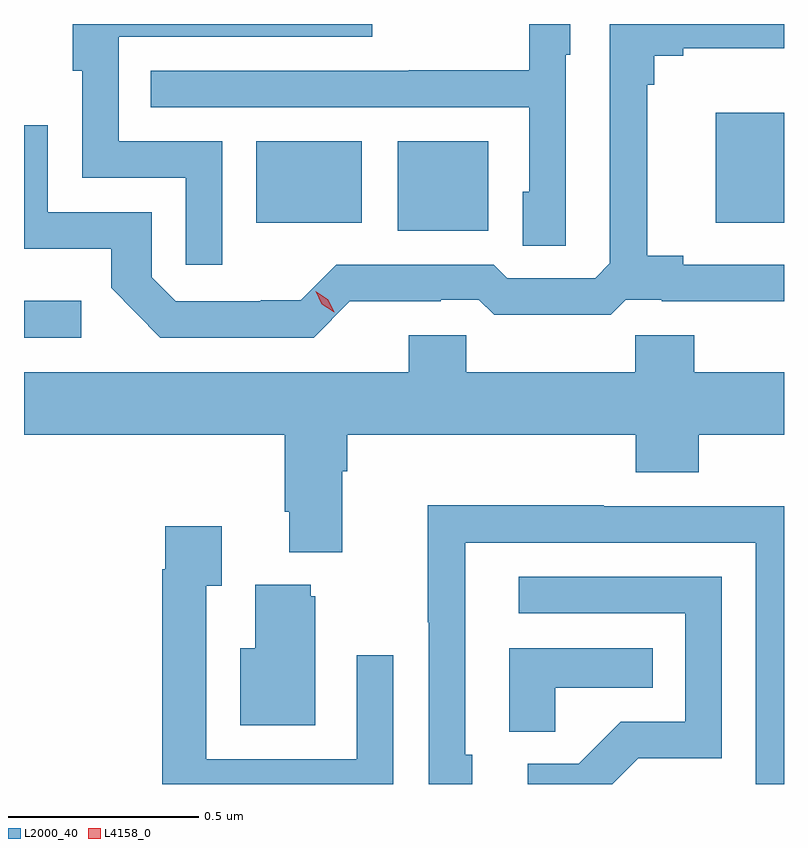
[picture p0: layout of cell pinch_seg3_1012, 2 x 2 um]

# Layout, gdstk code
import gdstk
lib = gdstk.Library(unit=1e-6, precision=1e-09)
def R(c, l, rs):  # rectangles x0, y0, x1, y1
    for r in rs: c.add(gdstk.rectangle(r[:2], r[2:], *l))
def P(c, l, *ps):  # polygons
    for p in ps: c.add(gdstk.Polygon(p, *l))
L2000_40 = (2000, 40)
L4158_0 = (4158, 0)

pinch_seg3_1012 = lib.new_cell('pinch_seg3_1012')
R(pinch_seg3_1012, L2000_40, [(450.465,685.188,450.616,685.285), (451.448,685.469,451.687,685.705), (451.076,685.49,451.354,685.705), (452.285,685.49,452.465,685.78)])
P(pinch_seg3_1012, L2000_40, [(451.89,685.932),(451.903,685.932),(451.903,686.013),(451.794,686.013),(451.794,685.891),(451.477,685.891),(451.477,685.89),(450.799,685.89),(450.799,685.794),(451.794,685.794),(451.794,685.572),(451.778,685.572),(451.778,685.429),(451.89,685.429)],
  [(450.987,685.704),(450.714,685.704),(450.714,685.98),(451.381,685.98),(451.381,686.013),(450.593,686.013),(450.593,685.89),(450.618,685.89),(450.618,685.608),(450.891,685.608),(450.891,685.38),(450.987,685.38)],
  [(451.322,685.283),(451.562,685.283),(451.562,685.287),(451.662,685.287),(451.702,685.248),(452.009,685.248),(452.049,685.287),(452.143,685.287),(452.143,685.283),(452.465,685.283),(452.465,685.38),(452.2,685.38),(452.2,685.403),(452.105,685.403),(452.105,685.853),(452.123,685.853),(452.123,685.93),(452.2,685.93),(452.2,685.949),(452.465,685.949),(452.465,686.013),(452.007,686.013),(452.007,685.383),(451.968,685.344),(451.737,685.344),(451.701,685.38),(451.287,685.38),(451.193,685.286),(451.088,685.286),(451.088,685.284),(450.864,685.284),(450.801,685.347),(450.801,685.518),(450.528,685.518),(450.528,685.747),(450.465,685.747),(450.465,685.421),(450.694,685.421),(450.694,685.319),(450.824,685.188),(451.227,685.188)],
  [(452.075,684.833),(452.24,684.833),(452.24,684.932),(452.465,684.932),(452.465,685.096),(452.229,685.096),(452.229,685.194),(452.074,685.194),(452.074,685.096),(451.629,685.096),(451.629,685.194),(451.478,685.194),(451.478,685.096),(450.465,685.096),(450.465,684.932),(451.151,684.932),(451.151,684.73),(451.163,684.73),(451.163,684.623),(451.303,684.623),(451.303,684.836),(451.316,684.836),(451.316,684.932),(452.075,684.932)],
  [(451.645,684.09),(451.626,684.09),(451.626,684.648),(452.391,684.648),(452.391,684.013),(452.465,684.013),(452.465,684.744),(451.991,684.744),(451.991,684.746),(451.528,684.746),(451.528,684.439),(451.53,684.439),(451.53,684.013),(451.645,684.013)],
  [(451.437,684.352),(451.341,684.352),(451.341,684.078),(450.945,684.078),(450.945,684.535),(450.985,684.535),(450.985,684.691),(450.837,684.691),(450.837,684.578),(450.829,684.578),(450.829,684.013),(451.437,684.013)],
  [(452.082,684.081),(452.301,684.081),(452.301,684.558),(451.767,684.558),(451.767,684.462),(452.205,684.462),(452.205,684.177),(452.036,684.177),(451.925,684.066),(451.791,684.066),(451.791,684.013),(452.013,684.013)],
  [(451.231,684.507),(451.22,684.507),(451.22,684.538),(451.073,684.538),(451.073,684.37),(451.034,684.37),(451.034,684.167),(451.231,684.167)],
  [(451.863,684.266),(452.12,684.266),(452.12,684.37),(451.742,684.37),(451.742,684.151),(451.863,684.151)])
P(pinch_seg3_1012, L4158_0, [(451.281,685.255),(451.249,685.276),(451.233,685.31),(451.233,685.31),(451.233,685.31),(451.264,685.289),(451.281,685.256),(451.281,685.255)])

lib.write_gds('pinch_seg3_1012.gds')
